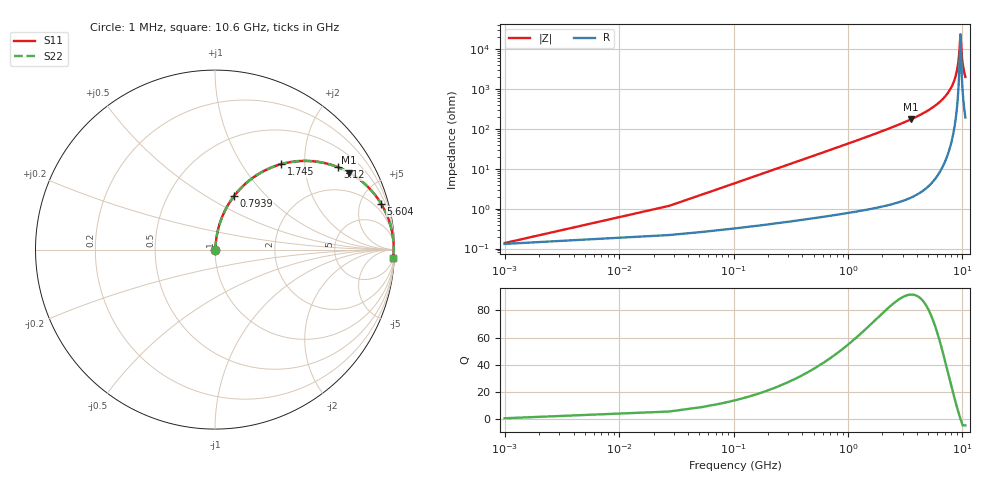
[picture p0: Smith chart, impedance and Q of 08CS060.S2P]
! Coilcraft 0805CS-060 Chip Inductor
! 11 June 2002
# MHZ S MA R 50
!Freq  MagS11  AngS11  MagS21  AngS21  MagS12  AngS12  MagS22  AngS22
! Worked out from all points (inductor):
!   403 points, 1 MHz to 10.6 GHz, reference 50 ohm
!   read as one part in series: L = 6.72 nH near 53.86 MHz
!   highest Q = 91.8 at 3.543 GHz (marker M1), where L = 7.78 nH
!   self-resonance near 9.569 GHz
!   S11 on the Smith chart (normalised r, x): 1 MHz: 1.00, +0.00; 793.9 MHz: 1.01, +0.68; 1.745 GHz: 1.02, +1.52; 3.12 GHz: 1.03, +2.95; 5.604 GHz: 1.10, +7.19; 10.6 GHz: 5, -40
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1  0.001372 17.9  0.9987 -0.0  0.9987 -0.0  0.001372 17.9
80.29  0.03391 83.1  0.9965 -1.9  0.9965 -1.9  0.03391 83.1
133.15  0.05606 83.2  0.995 -3.2  0.995 -3.2  0.05606 83.2
186.01  0.07812 82.7  0.9931 -4.5  0.9931 -4.5  0.07812 82.7
423.88  0.1757 78.2  0.9792 -10.1  0.9792 -10.1  0.1757 78.2
793.9  0.3179 70.3  0.9416 -18.5  0.9416 -18.5  0.3179 70.3
1745.38  0.6023 52.2  0.7901 -37.0  0.7901 -37.0  0.6023 52.2
1771.81  0.6084 51.8  0.7854 -37.5  0.7854 -37.5  0.6084 51.8
3119.74  0.8232 34.0  0.5588 -55.4  0.5588 -55.4  0.8232 34.0
3542.62  0.862 29.8  0.4976 -59.5  0.4976 -59.5  0.862 29.8
5313.43  0.952 17.1  0.294 -72.2  0.294 -72.2  0.952 17.1
5604.16  0.9599 15.5  0.2671 -73.7  0.2671 -73.7  0.9599 15.5
7084.24  0.9852 8.6  0.1496 -80.0  0.1496 -80.0  0.9852 8.6
8141.44  0.993 4.6  0.0807 -82.7  0.0807 -82.7  0.993 4.6
8855.05  0.9953 2.2  0.03938 -82.0  0.03938 -82.0  0.9953 2.2
9251.5  0.9957 1.0  0.0181 -75.8  0.0181 -75.8  0.9957 1.0
9383.65  0.9958 0.6  0.01144 -67.9  0.01144 -67.9  0.9958 0.6
9542.23  0.9957 0.1  0.00488 -29.3  0.00488 -29.3  0.9957 0.1
9595.09  0.9957 -0.0  0.004283 4.2  0.004283 4.2  0.9957 -0.0
9832.96  0.9955 -0.7  0.01311 69.8  0.01311 69.8  0.9955 -0.7
9991.54  0.9953 -1.2  0.02071 76.4  0.02071 76.4  0.9953 -1.2
10600  0.994 -2.8  0.04952 81.7  0.04952 81.7  0.994 -2.8
